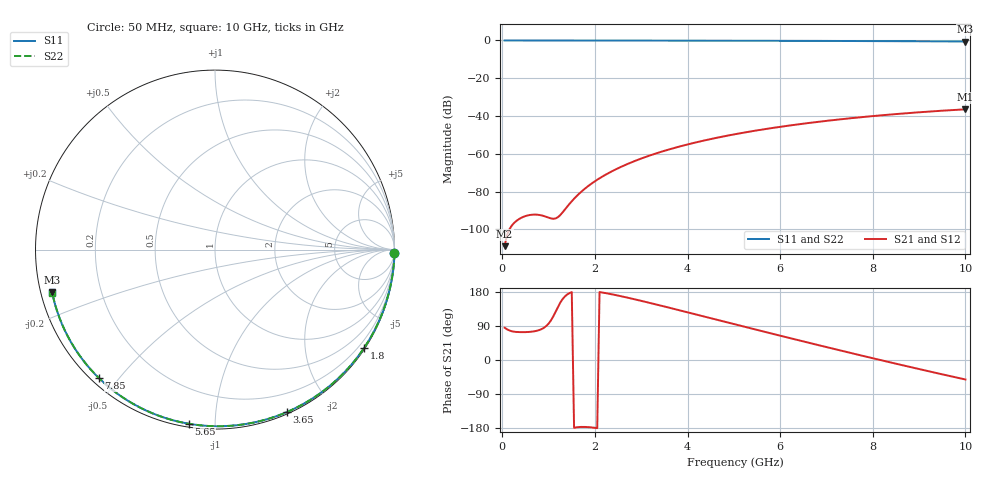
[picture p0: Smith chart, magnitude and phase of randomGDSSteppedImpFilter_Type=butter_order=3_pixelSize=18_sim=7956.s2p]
! freq	dB(S11)	phase(S11)	dB(S12)	phase(S12)
!  dB(S21)	phase(S21)	dB(S22)	phase(S22)
!S-par simulation data
#  GHz  S  DB  R 50
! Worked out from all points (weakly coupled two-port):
!   200 points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, 50 MHz to 10 GHz, reference 50 ohm
!   highest |S21| = -36.47 dB at 10 GHz (marker M1); lowest = -109.0 dB at 50 MHz (marker M2)
!   lowest |S11| = -0.6 dB at 10 GHz (marker M3), VSWR 31.37, Z = 1.62 - j6.45 ohm
!   |S11| at or under -10 dB: nowhere
!   |S22| runs from -0.6 to 0.0 dB; largest |S21 - S12| = 0
!   S11 on the Smith chart (normalised r, x): 50 MHz: open; 1.8 GHz: 0.03, -3.32; 3.65 GHz: 0.02, -1.54; 5.65 GHz: 0.02, -0.86; 7.85 GHz: 0.02, -0.44; 10 GHz: 0.03, -0.13
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0.05  -0.00 -0.9  -108.95 85.2  -108.95 85.2  -0.00 -0.9
0.45  -0.01 -8.5  -93.48 73.5  -93.48 73.5  -0.01 -8.5
0.85  -0.02 -16.0  -92.67 81.6  -92.67 81.6  -0.02 -16.0
1.7  -0.04 -31.7  -80.24 -176.6  -80.24 -176.6  -0.04 -31.7
1.75  -0.04 -32.6  -79.17 -176.5  -79.17 -176.5  -0.04 -32.6
1.8  -0.04 -33.5  -78.16 -176.7  -78.16 -176.7  -0.04 -33.5
2.1  -0.05 -39.0  -72.99 179.3  -72.99 179.3  -0.05 -38.9
2.3  -0.05 -42.6  -70.16 175.0  -70.16 175.0  -0.05 -42.5
2.5  -0.06 -46.1  -67.68 170.0  -67.68 170.0  -0.06 -46.1
2.9  -0.07 -53.2  -63.47 159.0  -63.47 159.0  -0.07 -53.1
3.4  -0.08 -61.8  -59.20 144.2  -59.20 144.2  -0.08 -61.8
3.65  -0.09 -66.1  -57.37 136.6  -57.37 136.6  -0.09 -66.1
4.3  -0.11 -77.0  -53.31 116.5  -53.31 116.5  -0.11 -76.9
5.05  -0.14 -89.2  -49.54 93.3  -49.54 93.3  -0.14 -89.1
5.65  -0.16 -98.6  -47.04 74.8  -47.04 74.8  -0.16 -98.6
6.15  -0.19 -106.4  -45.23 59.6  -45.23 59.6  -0.19 -106.4
6.7  -0.22 -114.8  -43.46 43.0  -43.46 43.0  -0.22 -114.8
7.25  -0.26 -123.2  -41.90 26.6  -41.90 26.6  -0.26 -123.1
7.85  -0.31 -132.2  -40.40 9.0  -40.40 9.0  -0.31 -132.1
8.35  -0.36 -139.7  -39.29 -5.5  -39.29 -5.5  -0.36 -139.7
9.2  -0.45 -152.7  -37.69 -29.5  -37.69 -29.5  -0.45 -152.6
10  -0.55 -165.3  -36.47 -51.4  -36.47 -51.4  -0.55 -165.2
